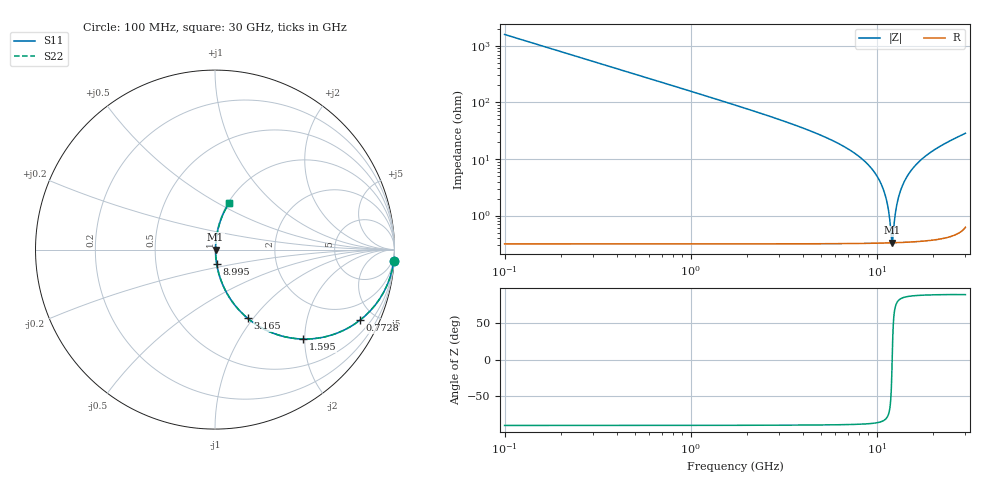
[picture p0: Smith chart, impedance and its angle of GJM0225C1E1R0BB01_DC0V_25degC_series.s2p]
!Murata Part Number: GJM0225C1E1R0BB01
!These Parameters are Measured in Series Mode Connection
!  o--ll--o
!Port1  Port2
!  o------o
!Operation Temp=25[degC], DC Bias Voltage=0[V]
!Freq. Start=100[MHz] Stop=30[GHz], 401[Steps]
!Data Generated on Feb 1, 2023
# Hz S RI R 50
!Freq.(Hz) S11(Real) S11(Imag) S21(Real) S21(Imag) S12(Real) S12(Imag) S22(Real) S22(Imag)
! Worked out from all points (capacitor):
!   401 points, 100 MHz to 30 GHz, reference 50 ohm
!   read as one part in series: C = 1 pF near 249.5 MHz
!   lowest |Z| = 332 mohm at 12.13 GHz (marker M1)
!   series resonance near 12.12 GHz, so ESL is about 170 pH
!   S11 on the Smith chart (normalised r, x): 100 MHz: 1, -32; 772.8 MHz: 1.01, -4.10; 1.595 GHz: 1.01, -1.96; 3.165 GHz: 1.01, -0.94; 8.995 GHz: 1.01, -0.16; 30 GHz: 1.01, +0.57
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1e8  0.9961 -0.0626  0.00395 0.0626  0.00395 0.0626  0.9961 -0.0626
3.99e8  0.9406 -0.236  0.0594 0.236  0.0594 0.236  0.9406 -0.236
7.7275e8  0.8076 -0.3934  0.1924 0.3934  0.1924 0.3934  0.8076 -0.3934
1.595e9  0.4903 -0.4983  0.5097 0.4983  0.5097 0.4983  0.4903 -0.4983
2.3425e9  0.3006 -0.4561  0.6994 0.4561  0.6994 0.4561  0.3006 -0.4561
3.16475e9  0.1818 -0.3823  0.8182 0.3823  0.8182 0.3823  0.1818 -0.3823
5.10825e9  0.0643 -0.2392  0.9357 0.2392  0.9357 0.2392  0.0643 -0.2392
8.99525e9  0.00946 -0.0786  0.9905 0.0786  0.9905 0.0786  0.00946 -0.0786
1.01165e10  0.0055 -0.0474  0.9945 0.0474  0.9945 0.0474  0.0055 -0.0474
1.078925e10  0.00419 -0.0305  0.9958 0.0305  0.9958 0.0305  0.00419 -0.0305
1.13125e10  0.0036 -0.018  0.9964 0.018  0.9964 0.018  0.0036 -0.018
1.168625e10  0.00337 -0.00953  0.9966 0.00953  0.9966 0.00953  0.00337 -0.00953
1.198525e10  0.0033 -0.00291  0.9967 0.00291  0.9967 0.00291  0.0033 -0.00291
1.213475e10  0.00329 0.000335  0.9967 -0.000335  0.9967 -0.000335  0.00329 0.000335
1.2658e10  0.00344 0.0114  0.9966 -0.0114  0.9966 -0.0114  0.00344 0.0114
1.318125e10  0.00381 0.022  0.9962 -0.022  0.9962 -0.022  0.00381 0.022
1.392875e10  0.00469 0.0366  0.9953 -0.0366  0.9953 -0.0366  0.00469 0.0366
1.505e10  0.00668 0.0571  0.9933 -0.0571  0.9933 -0.0571  0.00668 0.0571
1.7143e10  0.0121 0.0923  0.9879 -0.0923  0.9879 -0.0923  0.0121 0.0923
2.005825e10  0.0227 0.1362  0.9773 -0.1362  0.9773 -0.1362  0.0227 0.1362
2.50665e10  0.0472 0.2024  0.9528 -0.2024  0.9528 -0.2024  0.0472 0.2024
3e10  0.08 0.2607  0.92 -0.2607  0.92 -0.2607  0.08 0.2607
